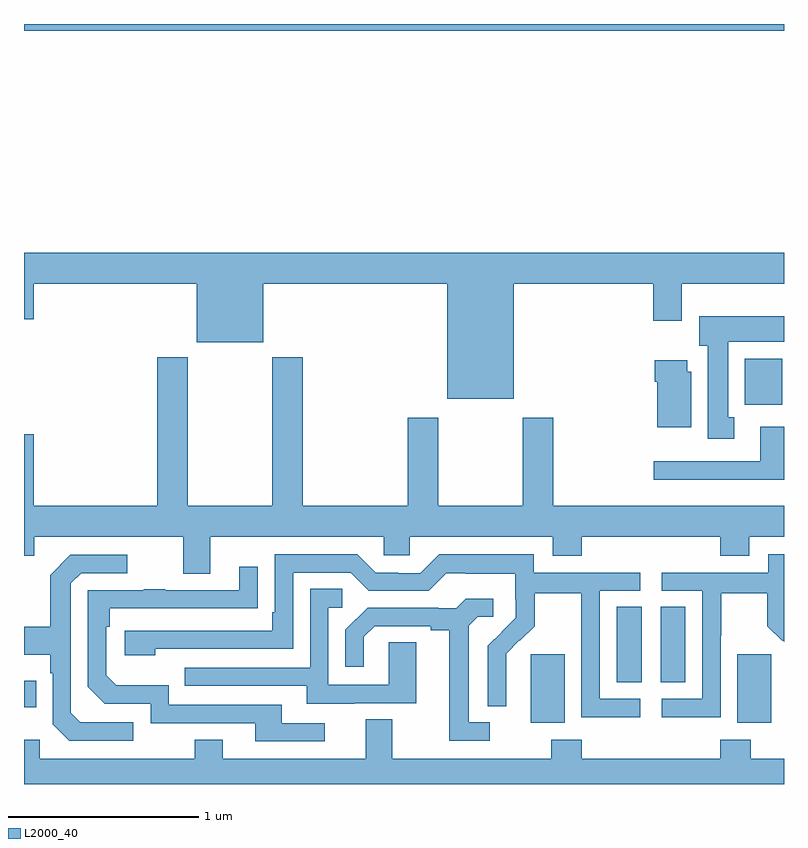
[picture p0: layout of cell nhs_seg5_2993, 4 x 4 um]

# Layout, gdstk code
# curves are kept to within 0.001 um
import gdstk
lib = gdstk.Library(unit=1e-6, precision=1e-09)
def R(c, l, rs):  # rectangles x0, y0, x1, y1
    for r in rs: c.add(gdstk.rectangle(r[:2], r[2:], *l))
def P(c, l, *ps):  # polygons
    for p in ps: c.add(gdstk.Polygon(p, *l))
L2000_40 = (2000, 40)

nhs_seg5_2993 = lib.new_cell('nhs_seg5_2993')
R(nhs_seg5_2993, L2000_40, [(287.666,849.122,287.845,849.483), (288.755,849.122,288.934,849.483), (285,849.203,285.065,849.343), (288.119,849.334,288.25,849.731), (288.35,849.334,288.481,849.731), (288.794,850.796,288.991,851.038), (285,852.764,289,852.799)])
P(nhs_seg5_2993, L2000_40, [(287.578,851.432),(288.311,851.432),(288.311,851.238),(288.463,851.238),(288.463,851.432),(289,851.432),(289,851.596),(285,851.596),(285,851.244),(285.052,851.244),(285.052,851.432),(285.908,851.432),(285.908,851.123),(286.258,851.123),(286.258,851.432),(287.228,851.432),(287.228,850.826),(287.578,850.826)],
  [(288.739,850.73),(288.706,850.73),(288.706,851.126),(289,851.126),(289,851.26),(288.554,851.26),(288.554,851.106),(288.599,851.106),(288.599,850.617),(288.739,850.617)],
  [(285.979,850.1),(286.893,850.1),(286.893,850.002),(287.031,850.002),(287.031,850.1),(287.783,850.1),(287.783,850.001),(287.936,850.001),(287.936,850.1),(288.665,850.1),(288.665,850.001),(288.817,850.001),(288.817,850.1),(289,850.1),(289,850.264),(287.786,850.264),(287.786,850.726),(287.626,850.726),(287.626,850.264),(287.181,850.264),(287.181,850.726),(287.021,850.726),(287.021,850.264),(286.466,850.264),(286.466,851.044),(286.306,851.044),(286.306,850.264),(285.861,850.264),(285.861,851.044),(285.701,851.044),(285.701,850.264),(285.052,850.264),(285.052,850.639),(285,850.639),(285,850.001),(285.055,850.001),(285.055,850.1),(285.839,850.1),(285.839,849.906),(285.979,849.906)],
  [(288.511,850.968),(288.49,850.968),(288.49,851.029),(288.32,851.029),(288.32,850.916),(288.332,850.916),(288.332,850.676),(288.511,850.676)],
  [(289,850.678),(288.875,850.678),(288.875,850.497),(288.315,850.497),(288.315,850.4),(289,850.4)],
  [(288.666,849.58),(288.669,849.58),(288.669,849.804),(288.913,849.804),(288.913,849.629),(288.99,849.552),(288.993,849.555),(289,849.548),(289,850.009),(288.918,850.009),(288.918,849.912),(288.357,849.912),(288.357,849.816),(288.57,849.816),(288.57,849.249),(288.357,849.249),(288.357,849.151),(288.666,849.151)],
  [(288.244,849.249),(288.03,849.249),(288.03,849.816),(288.244,849.816),(288.244,849.912),(287.682,849.912),(287.682,850.009),(287.185,850.009),(287.085,849.909),(286.97,849.909),(286.97,849.912),(286.851,849.912),(286.755,850.008),(286.32,850.008),(286.32,849.703),(286.307,849.703),(286.307,849.606),(285.531,849.606),(285.531,849.476),(285.692,849.476),(285.692,849.51),(286.416,849.51),(286.416,849.912),(286.719,849.912),(286.815,849.816),(287.13,849.816),(287.223,849.909),(287.323,849.909),(287.323,849.905),(287.586,849.905),(287.586,849.771),(287.588,849.771),(287.588,849.674),(287.442,849.526),(287.442,849.208),(287.538,849.208),(287.537,849.485),(287.607,849.555),(287.61,849.552),(287.687,849.629),(287.687,849.804),(287.932,849.804),(287.932,849.58),(287.934,849.58),(287.934,849.151),(288.244,849.151)],
  [(285.574,849.123),(285.297,849.123),(285.246,849.174),(285.246,849.855),(285.3,849.909),(285.544,849.909),(285.544,850.005),(285.243,850.005),(285.138,849.899),(285.138,849.627),(285,849.627),(285,849.479),(285.138,849.479),(285.138,849.383),(285.15,849.383),(285.15,849.114),(285.237,849.027),(285.574,849.027)],
  [(286.582,849.12),(286.357,849.12),(286.357,849.216),(285.762,849.216),(285.762,849.319),(285.485,849.319),(285.432,849.372),(285.432,849.626),(285.452,849.626),(285.452,849.723),(286.229,849.724),(286.229,849.943),(286.133,849.943),(286.133,849.819),(285.743,849.819),(285.743,849.824),(285.631,849.824),(285.631,849.819),(285.336,849.819),(285.336,849.312),(285.426,849.222),(285.666,849.222),(285.666,849.12),(286.217,849.12),(286.217,849.024),(286.582,849.024)],
  [(286.741,849.225),(287.065,849.225),(287.065,849.545),(286.92,849.545),(286.92,849.321),(286.602,849.321),(286.602,849.726),(286.675,849.726),(286.675,849.827),(286.506,849.827),(286.506,849.411),(285.847,849.411),(285.847,849.315),(286.487,849.315),(286.487,849.221),(286.741,849.221)],
  [(287.452,849.123),(287.341,849.123),(287.341,849.631),(287.388,849.678),(287.47,849.678),(287.47,849.775),(287.326,849.775),(287.274,849.723),(287.18,849.723),(287.18,849.726),(286.808,849.726),(286.692,849.61),(286.692,849.417),(286.789,849.417),(286.789,849.573),(286.846,849.63),(287.141,849.63),(287.141,849.608),(287.237,849.608),(287.237,849.027),(287.452,849.027)],
  [(289,848.932),(288.825,848.932),(288.825,849.031),(288.665,849.031),(288.665,848.932),(287.936,848.932),(287.936,849.031),(287.776,849.031),(287.776,848.932),(286.939,848.932),(286.939,849.14),(286.799,849.14),(286.799,848.932),(286.045,848.932),(286.045,849.031),(285.898,849.031),(285.898,848.932),(285.084,848.932),(285.084,849.031),(285,849.031),(285,848.799),(289,848.799)])

lib.write_gds('nhs_seg5_2993.gds')
